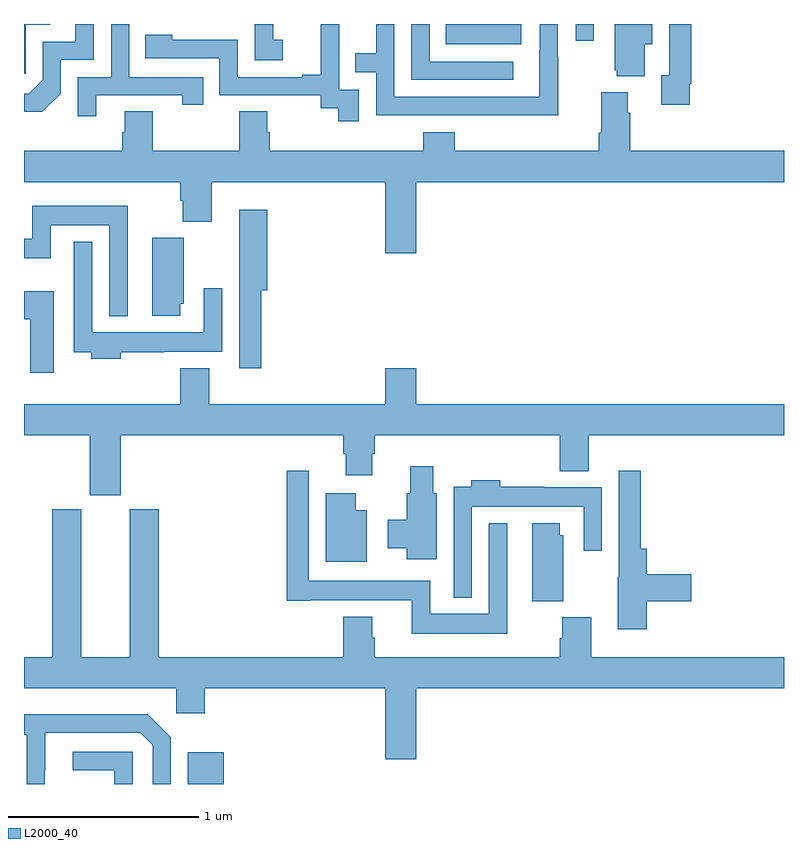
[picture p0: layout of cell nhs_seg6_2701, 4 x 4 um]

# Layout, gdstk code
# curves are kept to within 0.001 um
import gdstk
lib = gdstk.Library(unit=1e-6, precision=1e-09)
def R(c, l, rs):  # rectangles x0, y0, x1, y1
    for r in rs: c.add(gdstk.rectangle(r[:2], r[2:], *l))
def P(c, l, *ps):  # polygons
    for p in ps: c.add(gdstk.Polygon(p, *l))
L2000_40 = (2000, 40)

nhs_seg6_2701 = lib.new_cell('nhs_seg6_2701')
R(nhs_seg6_2701, L2000_40, [(271.862,945.5,272.05,945.667), (273.903,949.413,273.999,949.5)])
P(nhs_seg6_2701, L2000_40, [(273.574,949.302),(273.135,949.302),(273.135,949.5),(273.039,949.5),(273.039,949.206),(273.574,949.206)],
  [(271.194,949.134),(271.194,949.311),(271.368,949.311),(271.368,949.5),(271.271,949.5),(271.271,949.407),(271.098,949.407),(271.098,949.206),(271.026,949.134),(271,949.134),(271,949.037),(271.096,949.037)],
  [(274.267,949.394),(274.306,949.394),(274.306,949.5),(274.109,949.5),(274.109,949.257),(274.121,949.257),(274.121,949.226),(274.267,949.226)],
  [(272.763,949.155),(272.658,949.155),(272.658,949.385),(272.66,949.385),(272.66,949.5),(272.561,949.5),(272.561,949.234),(272.465,949.234),(272.465,949.221),(272.124,949.221),(272.124,949.416),(271.779,949.416),(271.779,949.443),(271.639,949.443),(271.639,949.32),(272.028,949.32),(272.028,949.125),(272.562,949.125),(272.562,949.057),(272.655,949.057),(272.655,948.987),(272.763,948.987)],
  [(274.504,949.186),(274.511,949.186),(274.511,949.5),(274.395,949.5),(274.395,949.23),(274.355,949.23),(274.355,949.074),(274.504,949.074)],
  [(273.616,949.5),(273.459,949.5),(273.459,949.498),(273.22,949.498),(273.22,949.394),(273.616,949.394)],
  [(271.381,949.125),(271.832,949.125),(271.832,949.074),(271.943,949.074),(271.943,949.221),(271.554,949.221),(271.554,949.5),(271.458,949.5),(271.458,949.221),(271.284,949.221),(271.284,949.014),(271.381,949.014)],
  [(272.362,949.417),(272.313,949.417),(272.313,949.5),(272.214,949.5),(272.214,949.308),(272.362,949.308)],
  [(271.008,949.497),(271.137,949.497),(271.137,949.5),(271,949.5),(271,949.239),(271.008,949.239)],
  [(273.813,949.325),(273.81,949.325),(273.81,949.5),(273.714,949.5),(273.714,949.361),(273.713,949.361),(273.713,949.116),(272.949,949.116),(272.949,949.5),(272.853,949.5),(272.853,949.346),(272.743,949.346),(272.743,949.245),(272.853,949.245),(272.853,949.02),(273.349,949.02),(273.349,949.019),(273.813,949.019)],
  [(273.064,948.668),(275,948.668),(275,948.832),(274.19,948.832),(274.19,949.034),(274.177,949.034),(274.177,949.141),(274.037,949.141),(274.037,948.928),(274.025,948.928),(274.025,948.832),(273.266,948.832),(273.266,948.931),(273.101,948.931),(273.101,948.832),(272.294,948.832),(272.294,948.93),(272.281,948.93),(272.281,949.04),(272.134,949.04),(272.134,948.832),(271.677,948.832),(271.677,949.04),(271.529,949.04),(271.529,948.93),(271.517,948.93),(271.517,948.832),(271,948.832),(271,948.668),(271.823,948.668),(271.823,948.569),(271.835,948.569),(271.835,948.46),(271.988,948.46),(271.988,948.668),(272.9,948.668),(272.9,948.294),(273.064,948.294)],
  [(271.546,948.544),(271.043,948.544),(271.043,948.37),(271,948.37),(271,948.266),(271.14,948.266),(271.14,948.44),(271.449,948.44),(271.449,947.963),(271.546,947.963)],
  [(272.249,948.098),(272.279,948.098),(272.279,948.523),(272.132,948.523),(272.132,948.202),(272.133,948.202),(272.133,947.688),(272.249,947.688)],
  [(271.822,948.027),(271.84,948.027),(271.84,948.375),(271.676,948.375),(271.676,947.964),(271.822,947.964)],
  [(271.508,947.772),(271.739,947.772),(271.739,947.774),(272.043,947.774),(272.043,948.109),(271.947,948.109),(271.947,947.878),(271.359,947.878),(271.359,948.355),(271.263,948.355),(271.263,947.772),(271.355,947.772),(271.355,947.738),(271.508,947.738)],
  [(271.156,948.094),(271,948.094),(271,947.947),(271.034,947.947),(271.034,947.664),(271.156,947.664)],
  [(271.51,947.336),(272.681,947.336),(272.681,947.238),(272.693,947.238),(272.693,947.124),(272.833,947.124),(272.833,947.238),(272.846,947.238),(272.846,947.336),(273.821,947.336),(273.821,947.147),(273.973,947.147),(273.973,947.336),(275,947.336),(275,947.5),(273.064,947.5),(273.064,947.689),(272.9,947.689),(272.9,947.5),(271.975,947.5),(271.975,947.689),(271.823,947.689),(271.823,947.5),(271,947.5),(271,947.336),(271.346,947.336),(271.346,947.019),(271.51,947.019)],
  [(273.172,947.031),(273.154,947.031),(273.154,947.173),(273.032,947.173),(273.032,947.031),(273.014,947.031),(273.014,946.89),(272.915,946.89),(272.915,946.742),(273.014,946.742),(273.014,946.683),(273.172,946.683)],
  [(274.277,946.462),(274.513,946.462),(274.513,946.604),(274.277,946.604),(274.277,946.738),(274.247,946.738),(274.247,947.149),(274.131,947.149),(274.131,946.587),(274.124,946.587),(274.124,946.314),(274.277,946.314)],
  [(273.544,946.873),(273.447,946.873),(273.447,946.396),(273.138,946.396),(273.138,946.57),(272.499,946.57),(272.499,947.149),(272.383,947.149),(272.383,946.464),(272.506,946.464),(272.506,946.466),(273.041,946.466),(273.041,946.292),(273.544,946.292)],
  [(273.357,946.958),(273.945,946.958),(273.945,946.728),(274.041,946.728),(274.041,947.062),(273.737,947.062),(273.737,947.065),(273.506,947.065),(273.506,947.098),(273.353,947.098),(273.353,947.065),(273.261,947.065),(273.261,946.481),(273.357,946.481)],
  [(272.803,946.942),(272.746,946.942),(272.746,947.029),(272.588,947.029),(272.588,946.67),(272.803,946.67)],
  [(273.064,946.004),(275,946.004),(275,946.168),(273.986,946.168),(273.986,946.377),(273.833,946.377),(273.833,946.268),(273.821,946.268),(273.821,946.168),(272.846,946.168),(272.846,946.269),(272.833,946.269),(272.833,946.381),(272.681,946.381),(272.681,946.168),(271.709,946.168),(271.709,946.947),(271.556,946.947),(271.556,946.168),(271.3,946.168),(271.3,946.947),(271.148,946.947),(271.148,946.168),(271,946.168),(271,946.004),(271.8,946.004),(271.8,945.873),(271.952,945.873),(271.952,946.004),(272.9,946.004),(272.9,945.63),(273.064,945.63)],
  [(273.838,946.809),(273.82,946.809),(273.82,946.873),(273.674,946.873),(273.674,946.462),(273.838,946.462)],
  [(271.11,945.571),(271.111,945.771),(271.611,945.771),(271.677,945.705),(271.677,945.5),(271.773,945.5),(271.773,945.747),(271.652,945.868),(271,945.868),(271,945.758),(271.014,945.758),(271.014,945.5),(271.11,945.5)],
  [(271.572,945.669),(271.257,945.669),(271.257,945.573),(271.476,945.573),(271.476,945.5),(271.572,945.5)])

lib.write_gds('nhs_seg6_2701.gds')
